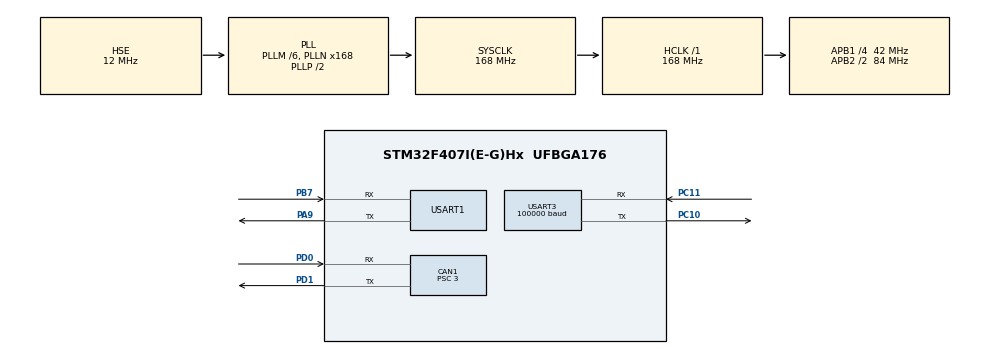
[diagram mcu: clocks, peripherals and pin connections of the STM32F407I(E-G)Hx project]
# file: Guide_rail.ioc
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CAN1.ABOM=ENABLE
CAN1.AWUM=ENABLE
CAN1.BS1=CAN_BS1_10TQ
CAN1.BS2=CAN_BS2_3TQ
CAN1.CalculateBaudRate=1000000
CAN1.CalculateTimeBit=1000
CAN1.CalculateTimeQuantum=71.42857142857143
CAN1.NART=ENABLE
CAN1.Prescaler=3
Dma.Request0=USART3_RX
Dma.USART3_RX.0.Direction=DMA_PERIPH_TO_MEMORY
Dma.USART3_RX.0.FIFOMode=DMA_FIFOMODE_DISABLE
Dma.USART3_RX.0.Instance=DMA1_Stream1
Dma.USART3_RX.0.MemDataAlignment=DMA_MDATAALIGN_BYTE
Dma.USART3_RX.0.MemInc=DMA_MINC_ENABLE
Dma.USART3_RX.0.Mode=DMA_NORMAL
Dma.USART3_RX.0.PeriphDataAlignment=DMA_PDATAALIGN_BYTE
Dma.USART3_RX.0.PeriphInc=DMA_PINC_DISABLE
Dma.USART3_RX.0.Priority=DMA_PRIORITY_LOW
Mcu.Family=STM32F4
Mcu.Name=STM32F407I(E-G)Hx
Mcu.Package=UFBGA176
NVIC.CAN1_RX0_IRQn=true\:0\:0\:false\:false\:true\:true\:true\:true
NVIC.DMA1_Stream1_IRQn=true\:0\:0\:false\:false\:true\:false\:true\:true
NVIC.PriorityGroup=NVIC_PRIORITYGROUP_4
NVIC.TIM6_DAC_IRQn=true\:0\:0\:false\:false\:true\:true\:true\:true
NVIC.USART1_IRQn=true\:0\:0\:false\:false\:true\:true\:true\:true
PA13.Mode=Serial_Wire
PA13.Signal=SYS_JTMS-SWDIO
PA14.Mode=Serial_Wire
PA14.Signal=SYS_JTCK-SWCLK
PA9.Mode=Asynchronous
PA9.Signal=USART1_TX
PB7.Mode=Asynchronous
PB7.Signal=USART1_RX
PC10.Mode=Asynchronous
PC10.Signal=USART3_TX
PC11.Mode=Asynchronous
PC11.Signal=USART3_RX
PD0.Mode=CAN_Activate
PD0.Signal=CAN1_RX
PD1.Mode=CAN_Activate
PD1.Signal=CAN1_TX
PH0-OSC_IN.Mode=HSE-External-Oscillator
PH0-OSC_IN.Signal=RCC_OSC_IN
PH1-OSC_OUT.Mode=HSE-External-Oscillator
PH1-OSC_OUT.Signal=RCC_OSC_OUT
ProjectManager.HeapSize=0x200
ProjectManager.StackSize=0x400
ProjectManager.TargetToolchain=MDK-ARM V5.32
RCC.48MHZClocksFreq_Value=84000000
RCC.AHBFreq_Value=168000000
RCC.APB1CLKDivider=RCC_HCLK_DIV4
RCC.APB1Freq_Value=42000000
RCC.APB1TimFreq_Value=84000000
RCC.APB2CLKDivider=RCC_HCLK_DIV2
RCC.APB2Freq_Value=84000000
RCC.APB2TimFreq_Value=168000000
RCC.CortexFreq_Value=168000000
RCC.HCLKFreq_Value=168000000
RCC.HSE_VALUE=12000000
RCC.HSI_VALUE=16000000
RCC.LSE_VALUE=32768
RCC.PLLM=6
RCC.PLLN=168
RCC.PLLSourceVirtual=RCC_PLLSOURCE_HSE
RCC.SYSCLKFreq_VALUE=168000000
RCC.SYSCLKSource=RCC_SYSCLKSOURCE_PLLCLK
RCC.VCOOutputFreq_Value=336000000
TIM6.Period=999
TIM6.Prescaler=83
USART1.VirtualMode=VM_ASYNC
USART3.BaudRate=100000
USART3.Parity=PARITY_EVEN
USART3.VirtualMode=VM_ASYNC
VP_TIM6_VS_ClockSourceINT.Mode=Enable_Timer
board=custom

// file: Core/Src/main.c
/* USER CODE BEGIN Header */
/**
  ******************************************************************************
  * @file           : main.c
  * @brief          : Main program body
  ******************************************************************************
  */
/* USER CODE END Header */
#include "main.h"
#include "can.h"
#include "dma.h"
#include "tim.h"
#include "usart.h"
#include "gpio.h"

/* USER CODE BEGIN Includes */
#include "can_comm.h"
#include "CAN_receive.h"
#include "Motor.h"
#include "remote_control.h"
/* USER CODE END Includes */

/* USER CODE BEGIN PD */
/* ===== DT7 遥控器控制 Yaw 转速的参数 =====
 * 左拨杆 s[1]：档1 = 固定转速1，档2 = 固定转速2，档3 = 右摇杆控制。
 * 转速单位 rpm（GM6020 直驱，输出轴 = 转子转速），负值 = 反转。
 * 占位值，实车确认转向和手感后再调。 */
#define YAW_SPEED_1     150.0f
#define YAW_SPEED_2     60.0f

/* 右摇杆满推（ch 值 ±660）对应的转速，最终受 YAW_SPIN_MAX_RPM 限幅 */
#define YAW_STICK_SEN   300.0f

/* 摇杆中位死区：摇杆回中不一定精确为 0，不设死区会让 Yaw 一直慢慢转 */
#define RC_DEADBAND     60

/* ===== 主机模式：向水平轴板（板B）发送遥控数据的周期 ===== */
#define BT_SEND_PERIOD_MS  40U      /* 25Hz，够用且不占带宽 */

/* ===== yaw 控制拨杆（s[1]，物理左侧）的档位原始值 =====
 * 实测本遥控器是标准编码：上=1、中=3、下=2（中档是 3 不是 2）。
 * 功能分配：上=固定转速1，中=固定转速2，下=右摇杆控制。
 * 用这里的常量而不是标准车的 switch_is_xxx 宏，是为了让编码一目了然。 */
#define RC_SW_POS_UP    1
#define RC_SW_POS_MID   3
#define RC_SW_POS_DOWN  2
/* USER CODE END PD */

/* USER CODE BEGIN PV */
static motor_ctrl_t yaw_motor;
static uint8_t control_started;

/* TIM6 每 1ms 置 1，主循环看到它才执行一轮控制（volatile：中断里写） */
static volatile uint8_t control_tick_flag;

/* ===== 原「从机」模式：用蓝牙接收 PC 发来的转速指令 =====
 * 现在改成「主机」模式——USART1 改为向水平轴板（板B）发送遥控数据，
 * 这段接收代码用 #if 0 关掉保留。要恢复时注意：它和主机发送共用 USART1。 */
#if 0
#define BT_RX_BUF_SIZE 16
static volatile uint8_t bt_rx_buf[BT_RX_BUF_SIZE]; /* 行缓冲：中断里写，主循环读 */
static volatile uint8_t bt_rx_len;                 /* 当前行已收字节数 */
static volatile uint8_t bt_line_ready;             /* 1 = 收到完整一行，待主循环解析 */
static fp32 bt_target_rpm = 0.0f;                  /* 上电静止，等蓝牙发转速指令才动 */
static uint8_t rx_byte;
#endif

/* 本控制周期实际使用的目标转速（见 yaw_target_rpm） */
static fp32 yaw_rpm_cmd = 0.0f;
/* USER CODE END PV */

void SystemClock_Config(void);

/* USER CODE BEGIN 0 */
#include <stdio.h>
#include <string.h>

/**
 * @brief SerialPlot 输出：每 10ms 发一行 ASCII 数据。
 *        格式: target_rpm,actual_rpm,pid_output\n
 *        SerialPlot 设为 ASCII 模式、逗号分隔、3 通道。
 *        USART1 TX (PA9) → USB-TTL RX，115200 8N1。
 *        阻塞发送 ~30 字节约 2.6ms，每 10ms 一次不影响 1ms 控制周期。
 */
void serialplot_output(fp32 target, fp32 actual, int16_t pid_out)
{
  static uint32_t last_tick = 0;
  uint32_t now = HAL_GetTick();
  char buf[48];
  int len;

  if (now - last_tick < 10U)
    return;
  last_tick = now;

  len = snprintf(buf, sizeof(buf), "%.1f,%.1f,%d\n",
                 (double)target, (double)actual, (int)pid_out);
  if (len > 0)
    HAL_UART_Transmit(&huart1, (uint8_t *)buf, (uint16_t)len, 5U);
}

/* ===== 原「从机」模式：解析 PC 发来的转速指令（已随从机模式一起关掉）======
 *
 * 解析蓝牙一行转速指令：[可选负号]+数字，如 "60"、"-120"、"0"。
 * 解析成功则更新 bt_target_rpm，并限幅到 ±YAW_SPIN_MAX_RPM。
 */
#if 0
static void bt_parse_speed_line(void)
{
  int32_t value = 0;
  int32_t sign = 1;
  uint8_t i = 0U;
  uint8_t valid = 1U;

  if (bt_rx_buf[0] == '-')
  {
    sign = -1;
    i = 1U;
  }
  if (i >= bt_rx_len)               /* 只有负号没有数字 */
    valid = 0U;

  for (; i < bt_rx_len; i++)
  {
    if (bt_rx_buf[i] < '0' || bt_rx_buf[i] > '9')
    {
      valid = 0U;                   /* 非数字字符：整行丢弃 */
      break;
    }
    value = value * 10 + (bt_rx_buf[i] - '0');
    if (value > 1000000)            /* 超长数字防溢出：提前截断，后面统一限幅 */
      break;
  }

  if (valid)
  {
    value = sign * value;
    if (value > YAW_SPIN_MAX_RPM)   /* 限幅：超出安全范围压回边界 */
      value = YAW_SPIN_MAX_RPM;
    if (value < -YAW_SPIN_MAX_RPM)
      value = -YAW_SPIN_MAX_RPM;
    bt_target_rpm = (fp32)value;
  }

  /* 先清长度再清标志：标志没清前中断不会写入新数据 */
  bt_rx_len = 0U;
  bt_line_ready = 0U;
}
#endif

/**
 * @brief 主机模式：向水平轴板（板B）发送一帧遥控数据，25Hz。
 *
 * 帧格式（ASCII）：
 *   $B,<sw>,<stick>,<en>\r\n
 *     sw    水平轴拨杆档位（右拨杆 s[0]）：1/2/3，0 = 无效
 *     stick 水平轴摇杆值，归一化到 -1000~1000（左摇杆横轴 ch[2]）
 *     en    遥控器在线标志：1 = 在线，0 = 离线（板B 收到 0 应停机）
 *
 * 选 ASCII 而不是二进制，是为了板B 能脱离遥控器、用 PC 串口助手直接灌帧调试。
 * 板A 只做搬运，模式解释和限位全部留在板B 本地。
 *
 * ⚠️ USART1 TX 上同时还有 serialplot_output() 的遥测数据，两者共用一条线。
 *    板B 的解析必须靠 "$B" 帧头过滤；定型时可以把 serialplot 关掉。
 */
static void bt_send_rc_frame(void)
{
  static uint32_t last_tick = 0U;
  const RC_ctrl_t *rc;
  char buf[32];
  int len;
  int32_t stick;

  if (HAL_GetTick() - last_tick < BT_SEND_PERIOD_MS)
    return;
  last_tick = HAL_GetTick();

  rc = get_remote_control_point();

  /* 左摇杆横轴：先过中位死区，再归一化到 ±1000。
   * 死区是必须的——摇杆回中不一定精确为 0，不过死区的话板B 手动档会一直慢慢漂。 */
  if (rc->rc.ch[2] > -RC_DEADBAND && rc->rc.ch[2] < RC_DEADBAND)
    stick = 0;
  else
    stick = (int32_t)rc->rc.ch[2] * 1000 / RC_CH_VALUE_MAX_ABS;

  len = snprintf(buf, sizeof(buf), "$B,%d,%d,%d\r\n",
                 (int)rc->rc.s[0],                    /* 档位：右拨杆 */
                 (int)stick,
                 RC_is_offline() ? 0 : 1);
  if (len > 0)
    HAL_UART_Transmit(&huart1, (uint8_t *)buf, (uint16_t)len, 5U);
}

/**
 * @brief 依据 DT7 左拨杆和右摇杆算出 Yaw 目标转速。
 *
 * 左拨杆 s[1]：档1 = YAW_SPEED_1，档2 = YAW_SPEED_2，档3 = 右摇杆 ch[1]。
 *
 * 上电档位不生效：上电后先记住拨杆停在哪个档，必须等档位变化一次才解锁，
 * 避免一上电 Yaw 就按固定转速转起来。遥控器离线会清掉解锁状态，
 * 重新上线后要再拨一次拨杆。
 *
 * 遥控器离线时停转（原「回落到 PC 蓝牙指令」的兜底随从机模式一起关掉了）。
 *
 * @retval 目标转速 (rpm)，已限幅到 ±YAW_SPIN_MAX_RPM
 */
static fp32 yaw_target_rpm(void)
{
  const RC_ctrl_t *rc;
  static uint8_t boot_s1;         /* 上电后第一帧记录的档位 */
  static uint8_t boot_s1_valid;
  static uint8_t armed;           /* 档位变化过一次才置 1 */
  int16_t stick;
  fp32 rpm;

  if (RC_is_offline())
  {
    boot_s1_valid = 0U;
    armed = 0U;
    return 0.0f;
  }

  rc = get_remote_control_point();

  /* 上电第一帧：只记档位，不动作 */
  if (!boot_s1_valid)
  {
    boot_s1 = (uint8_t)rc->rc.s[1];
    boot_s1_valid = 1U;
    return 0.0f;
  }

  /* 档位变过才解锁；解锁前保持在 0 */
  if (!armed)
  {
    if ((uint8_t)rc->rc.s[1] != boot_s1)
      armed = 1U;
    return 0.0f;
  }

  /* 档位 → 功能：上=固定转速1，中=固定转速2，下=右摇杆控制。
   * 这里用实际原始值比较，不用标准车的 switch_is_xxx 宏（那套编码和实物不符）。 */
  if ((uint8_t)rc->rc.s[1] == RC_SW_POS_UP)         /* 上档 */
  {
    rpm = YAW_SPEED_1;
  }
  else if ((uint8_t)rc->rc.s[1] == RC_SW_POS_MID)   /* 中档 */
  {
    rpm = YAW_SPEED_2;
  }
  else                                              /* 下档：右摇杆 */
  {
    /* 右摇杆垂直通道，中位死区内归零 */
    stick = rc->rc.ch[1];
    if (stick > -RC_DEADBAND && stick < RC_DEADBAND)
      rpm = 0.0f;
    else
      rpm = (fp32)stick * YAW_STICK_SEN / (fp32)RC_CH_VALUE_MAX_ABS;
  }

  if (rpm > (fp32)YAW_SPIN_MAX_RPM)
    rpm = (fp32)YAW_SPIN_MAX_RPM;
  if (rpm < -(fp32)YAW_SPIN_MAX_RPM)
    rpm = -(fp32)YAW_SPIN_MAX_RPM;

  return rpm;
}
/* USER CODE END 0 */

int main(void)
{

  /* MCU Configuration--------------------------------------------------------*/

  /* Reset of all peripherals, Initializes the Flash interface and the Systick. */
  HAL_Init();

  /* Configure the system clock */
  SystemClock_Config();

  /* Initialize all configured peripherals */
  MX_GPIO_Init();
  MX_DMA_Init();
  MX_CAN1_Init();
  MX_TIM6_Init();
  MX_USART1_UART_Init();
  MX_USART3_UART_Init();
  /* USER CODE BEGIN 2 */
  if (can_comm_init() != HAL_OK)
    Error_Handler();

  motor_ctrl_init(&yaw_motor, MOTOR_AXIS_YAW);
  control_started = 0U;
  control_tick_flag = 0U;

  /* 启动 TIM6 中断：每 1ms 置 control_tick_flag，驱动控制周期 */
  HAL_TIM_Base_Start_IT(&htim6);

  /* 原「从机」模式：等蓝牙发转速指令（已关闭 —— USART1 现在用作主机发送）
   * HAL_UART_Receive_IT(&huart1, &rx_byte, 1);
   */

  /* 启动 DT7/DR16 遥控器接收：USART3 + DMA 双缓冲 + 空闲中断 */
  remote_control_init();
  /* USER CODE END 2 */

  /* Infinite loop */
  while (1)
  {

    /* USER CODE BEGIN 3 */

    /* 等 TIM6 的 1ms 节拍：没到就空转（不阻塞，让出 CPU 给中断） */
    if (!control_tick_flag)
      continue;
    control_tick_flag = 0U;

    /* 主机模式：把遥控器数据发给水平轴板（板B）。25Hz 限流在函数内部 */
    bt_send_rc_frame();

    /* 本周期目标转速：来自 DT7；遥控器离线则为 0 */
    yaw_rpm_cmd = yaw_target_rpm();

    /* 上电延迟 500ms 等 CAN 反馈稳定 */
    if (HAL_GetTick() < 500U)
    {
      CAN_cmd_yaw(0);
      continue;
    }

    if (!CAN_motor_feedback_ready())  /* 反馈丢失：立即发 0 保安全，清理状态，下次恢复后重新配置 */
    {
      CAN_cmd_yaw(0);
      if (control_started)
      {
        motor_ctrl_clear(&yaw_motor);
        control_started = 0U;
      }
      continue;
    }

    /* 目标转速 0：发 0 电压后直接等下一周期。
     *
     * 只清速度环积分、不清编码器状态：motor_ctrl_update 在 spin_speed_rpm=0 时
     * 不调用 PID 就返回 0，积分会冻结在停转前的值，不清的话下次启动输出会突跳。
     * 而 motor_ctrl_clear 会连坐标系一起重置——DT7 模式下摇杆回中很频繁，
     * 每回中一次就重建坐标系没有意义。 */
    if (yaw_rpm_cmd == 0.0f)
    {
      CAN_cmd_yaw(0);
      Pid_clear(&yaw_motor.pid_speed);
      continue;
    }

    if (!control_started)   /* 先捕获首帧反馈，记 0° 参考 */
    {
      motor_ctrl_update(&yaw_motor, 0.0f,
                        motor_measure[YAW_MOTOR].ecd,
                        motor_measure[YAW_MOTOR].speed_rpm);
      control_started = 1U;
      CAN_cmd_yaw(0);
      continue;
    }

    {
      /* 每周期刷新匀速设定：运行中收到新转速立即生效 */
      motor_ctrl_set_spin(&yaw_motor, yaw_rpm_cmd, 0U);

      /* yaw 匀速模式：target_angle 被忽略，传 0.0f 即可 */
      int16_t yaw_v = motor_ctrl_update(&yaw_motor, 0.0f,    /* 主要循环控制 */
                                        motor_measure[YAW_MOTOR].ecd,
                                        motor_measure[YAW_MOTOR].speed_rpm);
      CAN_cmd_yaw(yaw_v);

      /* SerialPlot 输出：目标转速, 实际转速, PID 输出 */
//      serialplot_output(yaw_rpm_cmd,
//                        (fp32)motor_measure[YAW_MOTOR].speed_rpm,
//                        yaw_v);
    }
  }
  /* USER CODE END 3 */
}

void SystemClock_Config(void)
{
  RCC_OscInitTypeDef RCC_OscInitStruct = {0};
  RCC_ClkInitTypeDef RCC_ClkInitStruct = {0};

  /** Configure the main internal regulator output voltage
  */
  __HAL_RCC_PWR_CLK_ENABLE();
  __HAL_PWR_VOLTAGESCALING_CONFIG(PWR_REGULATOR_VOLTAGE_SCALE1);

  /** Initializes the RCC Oscillators according to the specified parameters
  * in the RCC_OscInitTypeDef structure.
  */
  RCC_OscInitStruct.OscillatorType = RCC_OSCILLATORTYPE_HSE;
  RCC_OscInitStruct.HSEState = RCC_HSE_ON;
  RCC_OscInitStruct.PLL.PLLState = RCC_PLL_ON;
  RCC_OscInitStruct.PLL.PLLSource = RCC_PLLSOURCE_HSE;
  RCC_OscInitStruct.PLL.PLLM = 6;
  RCC_OscInitStruct.PLL.PLLN = 168;
  RCC_OscInitStruct.PLL.PLLP = RCC_PLLP_DIV2;
  RCC_OscInitStruct.PLL.PLLQ = 4;
  if (HAL_RCC_OscConfig(&RCC_OscInitStruct) != HAL_OK)
  {
    Error_Handler();
  }

  /** Initializes the CPU, AHB and APB buses clocks
  */
  RCC_ClkInitStruct.ClockType = RCC_CLOCKTYPE_HCLK|RCC_CLOCKTYPE_SYSCLK
                              |RCC_CLOCKTYPE_PCLK1|RCC_CLOCKTYPE_PCLK2;
  RCC_ClkInitStruct.SYSCLKSource = RCC_SYSCLKSOURCE_PLLCLK;
  RCC_ClkInitStruct.AHBCLKDivider = RCC_SYSCLK_DIV1;
  RCC_ClkInitStruct.APB1CLKDivider = RCC_HCLK_DIV4;
  RCC_ClkInitStruct.APB2CLKDivider = RCC_HCLK_DIV2;

  if (HAL_RCC_ClockConfig(&RCC_ClkInitStruct, FLASH_LATENCY_5) != HAL_OK)
  {
    Error_Handler();
  }
}

/* USER CODE BEGIN 4 */
/* TIM6 更新中断回调：每 1ms 置控制节拍标志（中断里只置标志，不做控制） */
void HAL_TIM_PeriodElapsedCallback(TIM_HandleTypeDef *htim)
{
  if (htim->Instance == TIM6)
    control_tick_flag = 1U;
}
#if 0
/* ===== 原「从机」模式：蓝牙逐字节接收回调（已关闭）=====
 * 逐字节收进行缓冲，收到回车/换行置一行完成标志。
 * 指令格式：一行一个转速数字（可带负号），如 "60"、"-120"、"0"，
 * 由主循环解析并限幅到 ±YAW_SPIN_MAX_RPM。
 * 注意：USART1 现在用作主机发送，恢复这段前要先停掉 bt_send_rc_frame()。 */
void HAL_UART_RxCpltCallback(UART_HandleTypeDef *huart)
{
  if (huart->Instance == USART1)
  {
    HAL_UART_Transmit(&huart1, &rx_byte, 1, 10);  /* 调试回显：收到什么原样发回，验证蓝牙链路 */
    if (rx_byte == '\r' || rx_byte == '\n')
    {
      if (bt_rx_len > 0U && !bt_line_ready)
        bt_line_ready = 1U;                       /* 有内容才算一行 */
    }
    else if (!bt_line_ready && bt_rx_len < BT_RX_BUF_SIZE - 1U)
    {
      bt_rx_buf[bt_rx_len] = rx_byte;            /* 累积数字/负号 */
      bt_rx_len++;
    }
    /* 上一行还没处理或缓冲满：多余字节丢弃（简单保护） */
    /* 重新启动接收，等待下一字节 */
    HAL_UART_Receive_IT(&huart1, &rx_byte, 1);
  }
}
#endif
/* USER CODE END 4 */

void Error_Handler(void)
{
  __disable_irq();
  while (1)
  {
  }
}
#ifdef USE_FULL_ASSERT
/**
  * @brief  Reports the name of the source file and the source line number
  *         where the assert_param error has occurred.
  * @param  file: pointer to the source file name
  * @param  line: assert_param error line source number
  * @retval None
  */
void assert_failed(uint8_t *file, uint32_t line)
{
  /* USER CODE BEGIN 6 */
  (void)file;
  (void)line;
  /* USER CODE END 6 */
}
#endif /* USE_FULL_ASSERT */
